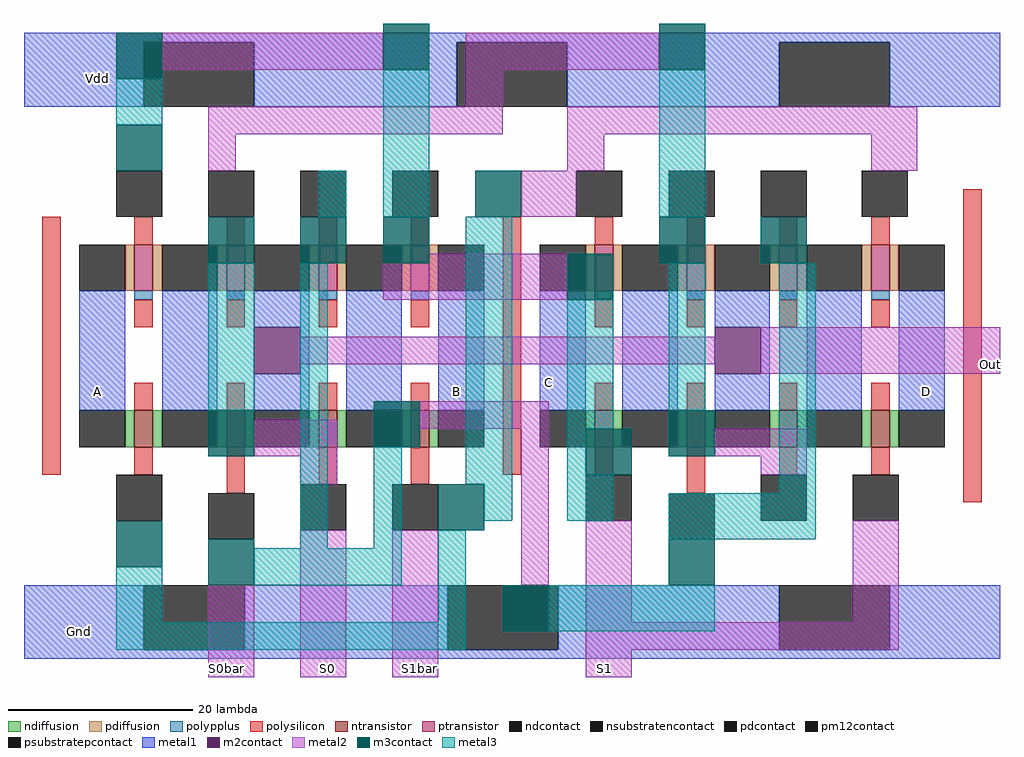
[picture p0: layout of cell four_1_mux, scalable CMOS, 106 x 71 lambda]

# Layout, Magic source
magic
tech scmos
<< ntransistor >>
rect -13 -2 -11 2
rect -3 -2 -1 2
rect 7 -2 9 2
rect 17 -2 19 2
rect 37 -2 39 2
rect 47 -2 49 2
rect 57 -2 59 2
rect 67 -2 69 2
<< ptransistor >>
rect -13 15 -11 20
rect -3 15 -1 20
rect 7 15 9 20
rect 17 15 19 20
rect 37 15 39 20
rect 47 15 49 20
rect 57 15 59 20
rect 67 15 69 20
<< ndiffusion >>
rect -14 -2 -13 2
rect -11 -2 -10 2
rect -4 -2 -3 2
rect -1 -2 0 2
rect 6 -2 7 2
rect 9 -2 10 2
rect 16 -2 17 2
rect 19 -2 20 2
rect 36 -2 37 2
rect 39 -2 40 2
rect 46 -2 47 2
rect 49 -2 50 2
rect 56 -2 57 2
rect 59 -2 60 2
rect 66 -2 67 2
rect 69 -2 70 2
<< pdiffusion >>
rect -14 15 -13 20
rect -11 15 -10 20
rect -4 15 -3 20
rect -1 15 0 20
rect 6 15 7 20
rect 9 15 10 20
rect 16 15 17 20
rect 19 15 20 20
rect 36 15 37 20
rect 39 15 40 20
rect 46 15 47 20
rect 49 15 50 20
rect 56 15 57 20
rect 59 15 60 20
rect 66 15 67 20
rect 69 15 70 20
<< ndcontact >>
rect -19 -2 -14 2
rect -10 -2 -4 2
rect 0 -2 6 2
rect 10 -2 16 2
rect 20 -2 25 2
rect 31 -2 36 2
rect 40 -2 46 2
rect 50 -2 56 2
rect 60 -2 66 2
rect 70 -2 75 2
<< pdcontact >>
rect -19 15 -14 20
rect -10 15 -4 20
rect 0 15 6 20
rect 10 15 16 20
rect 20 15 25 20
rect 31 15 36 20
rect 40 15 46 20
rect 50 15 56 20
rect 60 15 66 20
rect 70 15 75 20
<< psubstratepcontact >>
rect -12 -24 -1 -17
rect 21 -24 33 -17
rect 57 -24 69 -17
<< nsubstratencontact >>
rect -12 35 0 42
rect 22 35 34 42
rect 57 35 69 42
<< polysilicon >>
rect -23 -5 -21 23
rect -13 20 -11 23
rect -3 20 -1 23
rect 7 20 9 23
rect 17 20 19 23
rect -13 11 -11 14
rect -3 11 -1 14
rect 7 11 9 14
rect 17 11 19 14
rect -13 2 -11 5
rect -3 2 -1 5
rect 7 2 9 5
rect 17 2 19 5
rect -13 -5 -11 -2
rect -3 -7 -1 -2
rect 7 -6 9 -2
rect 17 -6 19 -2
rect 27 -5 29 23
rect 37 20 39 23
rect 47 20 49 23
rect 57 20 59 23
rect 67 20 69 23
rect 37 11 39 14
rect 47 11 49 14
rect 57 11 59 14
rect 67 11 69 14
rect 37 2 39 5
rect 47 2 49 5
rect 57 2 59 5
rect 67 2 69 5
rect 37 -5 39 -2
rect 47 -7 49 -2
rect 57 -5 59 -2
rect 67 -5 69 -2
rect 77 -8 79 26
<< polypplus >>
rect -13 14 -11 15
rect -3 14 -1 15
rect 7 14 9 15
rect 17 14 19 15
rect 37 14 39 15
rect 47 14 49 15
rect 57 14 59 15
rect 67 14 69 15
<< metal1 >>
rect -25 42 81 43
rect -25 35 -12 42
rect 0 35 22 42
rect 34 35 57 42
rect 69 35 81 42
rect -19 2 -14 15
rect -10 2 -4 15
rect 0 11 6 15
rect 5 6 6 11
rect 0 2 6 6
rect 10 2 16 15
rect 20 2 25 15
rect 31 2 36 15
rect 40 2 46 15
rect 50 11 56 15
rect 55 6 56 11
rect 50 2 56 6
rect 60 2 66 15
rect 70 2 75 15
rect -25 -24 -12 -17
rect -1 -24 21 -17
rect 33 -24 57 -17
rect 69 -24 81 -17
rect -25 -25 81 -24
<< m2contact >>
rect 0 6 5 11
rect 50 6 55 11
<< pm12contact >>
rect -15 23 -10 28
rect -5 23 0 28
rect 5 23 10 28
rect 15 23 20 28
rect 35 23 40 28
rect 45 23 50 28
rect 55 23 60 28
rect 66 23 71 28
rect -15 -10 -10 -5
rect -5 -12 0 -7
rect 5 -11 10 -6
rect 15 -11 20 -6
rect 36 -10 41 -5
rect 45 -12 50 -7
rect 55 -10 60 -5
rect 65 -10 70 -5
<< metal2 >>
rect -10 39 14 43
rect 23 39 44 43
rect 23 35 27 39
rect -5 32 27 35
rect 34 32 72 35
rect -5 28 -2 32
rect 34 28 38 32
rect 67 28 72 32
rect 29 23 35 28
rect 19 18 34 19
rect 14 14 34 18
rect 5 7 50 10
rect 55 6 81 11
rect 0 -3 9 1
rect 18 0 32 3
rect 5 -6 9 -3
rect -5 -27 0 -17
rect 5 -27 10 -11
rect 15 -27 20 -11
rect 29 -17 32 0
rect 50 -3 60 0
rect 55 -5 60 -3
rect 36 -21 41 -10
rect 65 -21 70 -10
rect 36 -24 70 -21
rect 36 -27 41 -24
<< m3contact >>
rect -15 38 -10 43
rect 14 39 19 44
rect 44 39 49 44
rect -15 28 -10 33
rect -5 18 0 23
rect 24 23 29 28
rect 5 18 10 23
rect 14 18 19 23
rect 34 14 39 19
rect 44 18 49 23
rect 55 18 60 23
rect -5 -3 0 2
rect 13 -2 18 3
rect -15 -15 -10 -10
rect -5 -17 0 -12
rect 20 -11 25 -6
rect 27 -22 32 -17
rect 36 -5 41 0
rect 45 -3 50 2
rect 45 -17 50 -12
<< metal3 >>
rect -15 33 -10 38
rect 7 23 10 28
rect -5 2 0 18
rect 14 23 19 39
rect 44 23 49 39
rect -15 -21 -10 -15
rect 5 -13 8 18
rect 13 -13 16 -2
rect 23 -6 28 23
rect 0 -17 16 -13
rect 25 -10 28 -6
rect 34 0 39 14
rect 45 2 49 18
rect 34 -5 36 0
rect 34 -10 39 -5
rect 57 -7 61 18
rect 20 -21 23 -11
rect 45 -12 61 -7
rect -15 -24 23 -21
rect 32 -22 50 -17
<< labels >>
rlabel metal1 22 4 22 4 1 B
rlabel metal1 -17 4 -17 4 1 A
rlabel metal2 -3 -26 -3 -26 1 S0bar
rlabel metal2 8 -26 8 -26 1 S0
rlabel metal2 18 -26 18 -26 1 S1bar
rlabel metal2 38 -26 38 -26 1 S1
rlabel metal1 -19 -22 -19 -22 3 Gnd
rlabel metal1 32 5 32 5 1 C
rlabel metal1 73 4 73 4 1 D
rlabel metal1 -17 38 -17 38 1 Vdd
rlabel metal2 80 7 80 7 7 Out
<< end >>
